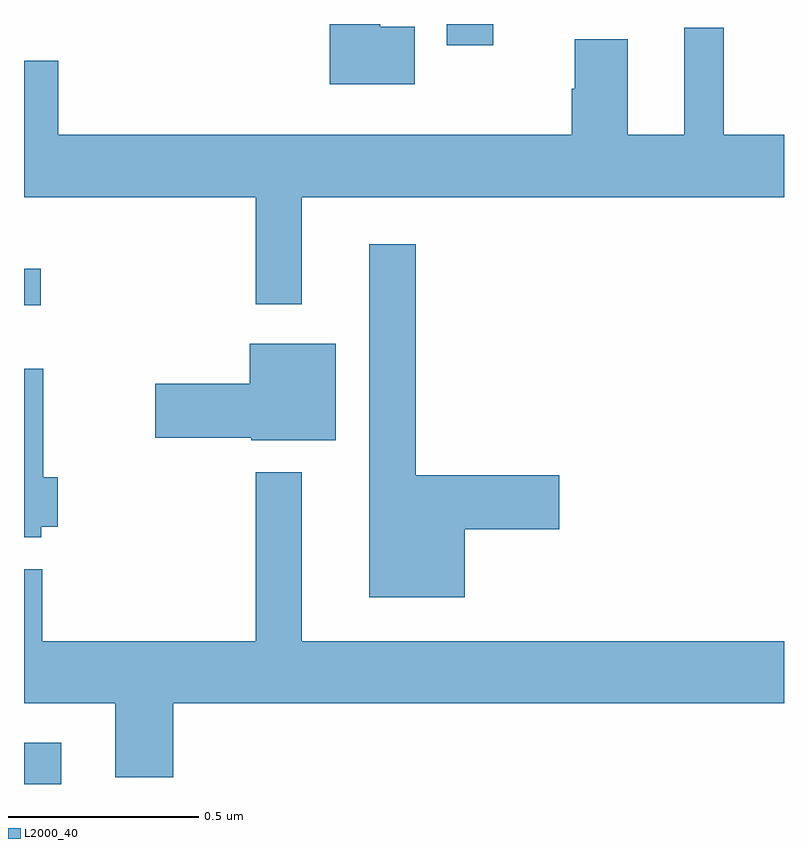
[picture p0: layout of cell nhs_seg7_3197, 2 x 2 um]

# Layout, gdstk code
import gdstk
lib = gdstk.Library(unit=1e-6, precision=1e-09)
def R(c, l, rs):  # rectangles x0, y0, x1, y1
    for r in rs: c.add(gdstk.rectangle(r[:2], r[2:], *l))
def P(c, l, *ps):  # polygons
    for p in ps: c.add(gdstk.Polygon(p, *l))
L2000_40 = (2000, 40)

nhs_seg7_3197 = lib.new_cell('nhs_seg7_3197')
R(nhs_seg7_3197, L2000_40, [(155,1071,155.098,1071.109), (155,1072.26,155.044,1072.356), (156.113,1072.944,156.235,1073)])
P(nhs_seg7_3197, L2000_40, [(156.028,1072.993),(155.938,1072.993),(155.938,1073),(155.804,1073),(155.804,1072.841),(156.028,1072.841)],
  [(155.731,1072.544),(157,1072.544),(157,1072.708),(156.841,1072.708),(156.841,1072.99),(156.737,1072.99),(156.737,1072.708),(156.589,1072.708),(156.589,1072.96),(156.449,1072.96),(156.449,1072.829),(156.442,1072.829),(156.442,1072.708),(155.09,1072.708),(155.09,1072.903),(155,1072.903),(155,1072.544),(155.61,1072.544),(155.61,1072.263),(155.731,1072.263)],
  [(156.16,1071.67),(156.409,1071.67),(156.409,1071.812),(156.031,1071.812),(156.031,1072.42),(155.909,1072.42),(155.909,1071.491),(156.16,1071.491)],
  [(155.821,1072.159),(155.594,1072.159),(155.594,1072.053),(155.346,1072.053),(155.346,1071.911),(155.598,1071.911),(155.598,1071.905),(155.821,1071.905)],
  [(155.046,1071.677),(155.089,1071.677),(155.089,1071.807),(155.05,1071.807),(155.05,1072.093),(155,1072.093),(155,1071.65),(155.046,1071.65)],
  [(155.393,1071.212),(157,1071.212),(157,1071.376),(155.731,1071.376),(155.731,1071.82),(155.61,1071.82),(155.61,1071.376),(155.048,1071.376),(155.048,1071.565),(155,1071.565),(155,1071.212),(155.24,1071.212),(155.24,1071.018),(155.393,1071.018)])

lib.write_gds('nhs_seg7_3197.gds')
